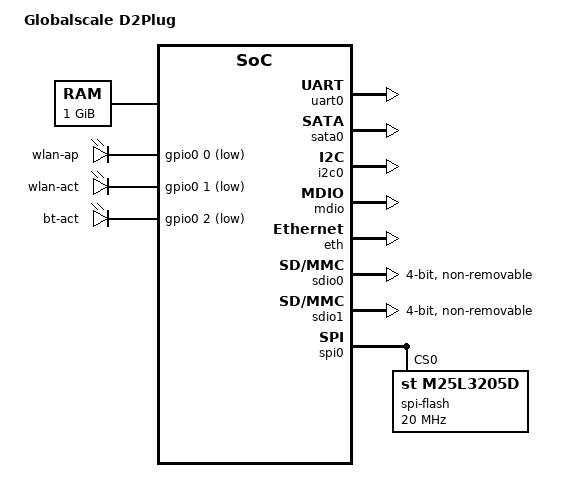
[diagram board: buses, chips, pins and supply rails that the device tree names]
/dts-v1/;

#include "dove.dtsi"

/ {
	model = "Globalscale D2Plug";
	compatible = "globalscale,d2plug", "marvell,dove";

	memory {
		device_type = "memory";
		reg = <0x00000000 0x40000000>;
	};

	chosen {
		bootargs = "console=ttyS0,115200n8 earlyprintk";
	};

	leds {
		compatible = "gpio-leds";
		pinctrl-0 = <&pmx_gpio_0 &pmx_gpio_1 &pmx_gpio_2>;
		pinctrl-names = "default";

		wlan-ap {
			label = "wlan-ap";
			gpios = <&gpio0 0 1>;
		};

		wlan-act {
			label = "wlan-act";
			gpios = <&gpio0 1 1>;
		};

		bluetooth-act {
			label = "bt-act";
			gpios = <&gpio0 2 1>;
		};
	};
};

&uart0 { status = "okay"; };
&sata0 { status = "okay"; };
&i2c0 { status = "okay"; };
&mdio { status = "okay"; };
&eth { status = "okay"; };

/* Samsung M8G2F eMMC */
&sdio0 {
	status = "okay";
	non-removable;
	bus-width = <4>;
};

/* Marvell SD8787 WLAN/BT */
&sdio1 {
	status = "okay";
	non-removable;
	bus-width = <4>;
};

&spi0 {
	status = "okay";

	/* spi0.0: 4M Flash Macronix MX25L3205D */
	spi-flash@0 {
		compatible = "st,m25l3205d";
		spi-max-frequency = <20000000>;
		reg = <0>;
	};
};
